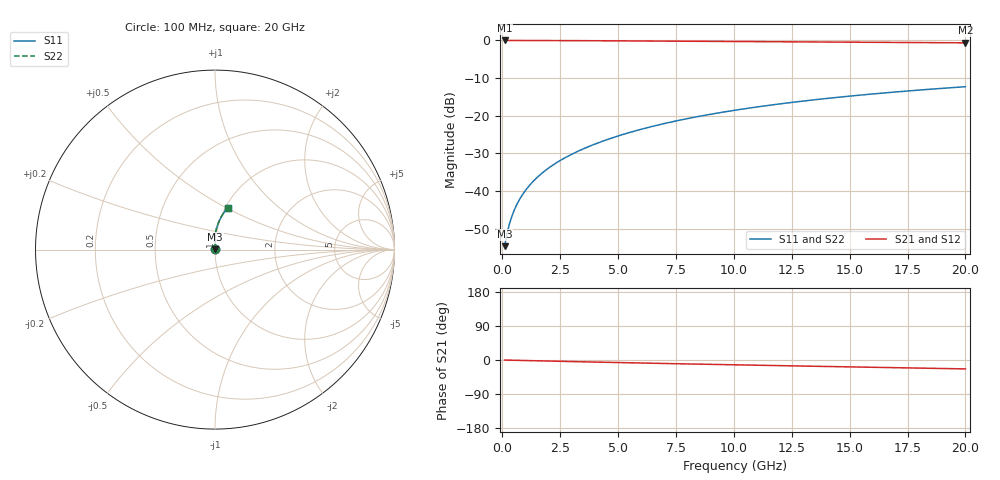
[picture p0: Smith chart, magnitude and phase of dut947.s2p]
! Touchstone file exported from HFSS 2024.1.0
!  File:  C:/UserFiles/LocalFiles/RDL_TSV_Batchsim/temp_RDL_top_947_1779937864.aedt
!  Generated:  11:14:11 AM May 28, 2026
!  Design:  RDL_top
!  Project:  temp_RDL_top_947_1779937864
!  Setup:  Setup1
!  Solution:  Sweep
! Variables:
!  dtsv = 10.80580581um
!  hbump = 3um
!  htsv = 64.01um
!  ldown = 100um
!  lrdl = 295.9um
!  p = 40
!  p1 = 57.25um
!  rhole = 1um
!  t = 450um
!  tdown = 3.915915916um
!  trdl = 3.19um
!  wdown = 15.38538539um
!  wrdl = 26.6um
# GHz S MA R 50.000000
! Terminal data exported
! Port[1] = Box2_T1
! Port[2] = Box2_T2
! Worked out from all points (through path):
!   200 points, 100 MHz to 20 GHz, reference 50 ohm
!   highest |S21| = -0.01 dB at 100 MHz (marker M1); lowest = -0.6 dB at 20 GHz (marker M2)
!   group delay of S21, straight-line fit = 3.22 ps
!   lowest |S11| = -54.6 dB at 100 MHz (marker M3), VSWR 1.00, Z = 50.2 + j0.111 ohm
!   |S11| at or under -10 dB: start of sweep to end of sweep
!   |S22| runs from -54.6 to -12.3 dB; largest |S21 - S12| = 2.1e-15
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0.1  0.001865 36.4  0.9985 -0.1  0.9985 -0.1  0.001865 36.4
! Gamma 0 0 0 0
! Port Impedance 50 0 50 0
0.2  0.002681 54.2  0.9984 -0.3  0.9984 -0.3  0.002681 54.2
0.3  0.003591 62.8  0.9983 -0.4  0.9983 -0.4  0.003591 62.8
0.4  0.004519 68.0  0.9982 -0.6  0.9982 -0.6  0.004519 68.0
0.5  0.005452 71.6  0.9981 -0.7  0.9981 -0.7  0.005452 71.6
0.6  0.006391 74.2  0.998 -0.9  0.998 -0.9  0.006391 74.2
0.8  0.008293 77.9  0.9978 -1.1  0.9978 -1.1  0.008293 77.9
1.1  0.0112 81.5  0.9974 -1.6  0.9974 -1.6  0.0112 81.5
1.3  0.01318 83.1  0.9971 -1.8  0.9971 -1.8  0.01318 83.1
1.6  0.01618 84.9  0.9966 -2.2  0.9966 -2.2  0.01618 84.9
2.1  0.0213 86.9  0.9956 -2.9  0.9956 -2.9  0.0213 86.9
2.7  0.02765 88.4  0.9942 -3.7  0.9942 -3.7  0.02765 88.4
3.5  0.03646 89.5  0.9918 -4.8  0.9918 -4.8  0.03646 89.5
4.2  0.04448 90.0  0.9895 -5.7  0.9895 -5.7  0.04448 90.0
5  0.05399 90.1  0.9866 -6.7  0.9866 -6.7  0.05399 90.1
5.9  0.06505 89.9  0.9831 -7.9  0.9831 -7.9  0.06504 89.9
6.8  0.0764 89.3  0.9796 -9.0  0.9796 -9.0  0.07639 89.3
8.4  0.09704 87.8  0.9733 -10.8  0.9733 -10.8  0.09703 87.8
10.1  0.1193 85.8  0.9666 -12.8  0.9666 -12.8  0.1192 85.8
13.4  0.1621 81.6  0.954 -16.5  0.954 -16.5  0.1621 81.6
16.7  0.2036 77.3  0.9415 -20.0  0.9415 -20.0  0.2035 77.3
20  0.2432 73.2  0.9287 -23.5  0.9287 -23.5  0.2431 73.2
